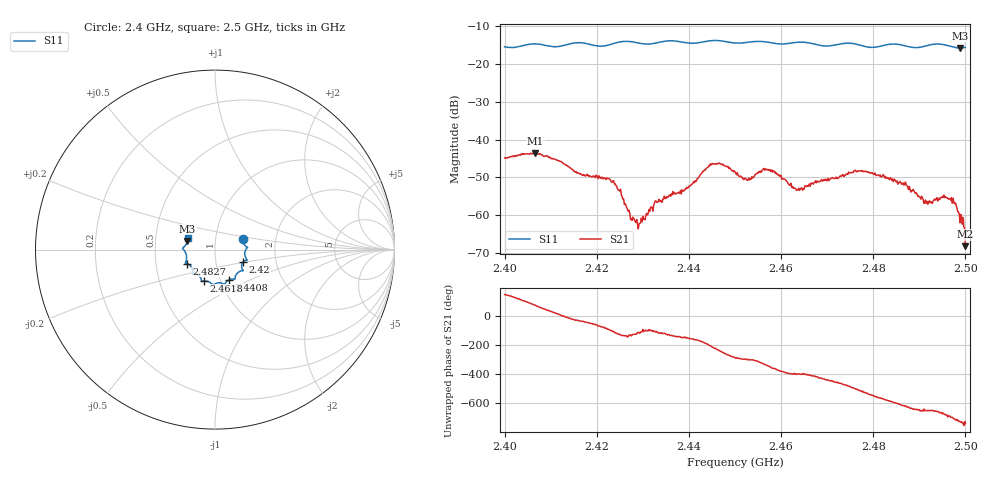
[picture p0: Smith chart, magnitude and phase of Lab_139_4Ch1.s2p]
# Hz S RI R 50
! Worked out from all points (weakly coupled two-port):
!   601 points, 2.4 GHz to 2.5 GHz, reference 50 ohm
!   highest |S21| = -43.55 dB at 2.4067 GHz (marker M1); lowest = -68.1 dB at 2.5 GHz (marker M2)
!   lowest |S11| = -15.9 dB at 2.4988 GHz (marker M3), VSWR 1.38, Z = 36.5 + j3.41 ohm
!   |S11| at or under -10 dB: start of sweep to end of sweep
!   S12 and S22 are empty: the file has one direction only
!   S11 on the Smith chart (normalised r, x): 2.4 GHz: 1.35, +0.17; 2.42 GHz: 1.36, -0.19; 2.4408 GHz: 1.10, -0.38; 2.4618 GHz: 0.83, -0.30; 2.4827 GHz: 0.72, -0.12; 2.5 GHz: 0.73, +0.09
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2.4e9  0.1549 0.0617  -0.00494 0.00284  0 0  0 0
2.406667e9  0.1815 0.0122  0.00153 0.00646  0 0  0 0
2.416667e9  0.1788 -0.0588  0.00292 -0.00189  0 0  0 0
2.42e9  0.1567 -0.069  0.00164 -0.0028  0 0  0 0
2.423833e9  0.1514 -0.1072  -0.000811 -0.00247  0 0  0 0
2.428833e9  0.1459 -0.1186  -0.000299 -0.000717  0 0  0 0
2.433333e9  0.1117 -0.1532  -0.00066 -0.00137  0 0  0 0
2.440833e9  0.0775 -0.1685  -0.00243 -0.00103  0 0  0 0
2.445167e9  0.0538 -0.1942  -0.00395 0.00278  0 0  0 0
2.45e9  0.027 -0.1853  0.000964 0.00363  0 0  0 0
2.453e9  -0.00175 -0.1919  0.00157 0.0027  0 0  0 0
2.457167e9  -0.0184 -0.1905  0.00378 0.00117  0 0  0 0
2.461833e9  -0.0613 -0.175  0.00202 -0.00148  0 0  0 0
2.463667e9  -0.0728 -0.1771  0.00169 -0.00136  0 0  0 0
2.466667e9  -0.0759 -0.168  0.00162 -0.00214  0 0  0 0
2.476333e9  -0.1252 -0.1297  -0.00309 -0.00217  0 0  0 0
2.482667e9  -0.1581 -0.0776  -0.00252 0.00207  0 0  0 0
2.483333e9  -0.1621 -0.0766  -0.00222 0.00216  0 0  0 0
2.4915e9  -0.1714 -0.00472  0.000515 0.00136  0 0  0 0
2.496833e9  -0.1668 0.0211  0.00147 0.000587  0 0  0 0
2.498833e9  -0.1538 0.0454  0.000793 -0.00012  0 0  0 0
2.5e9  -0.1511 0.0631  0.000363 -0.000152  0 0  0 0
